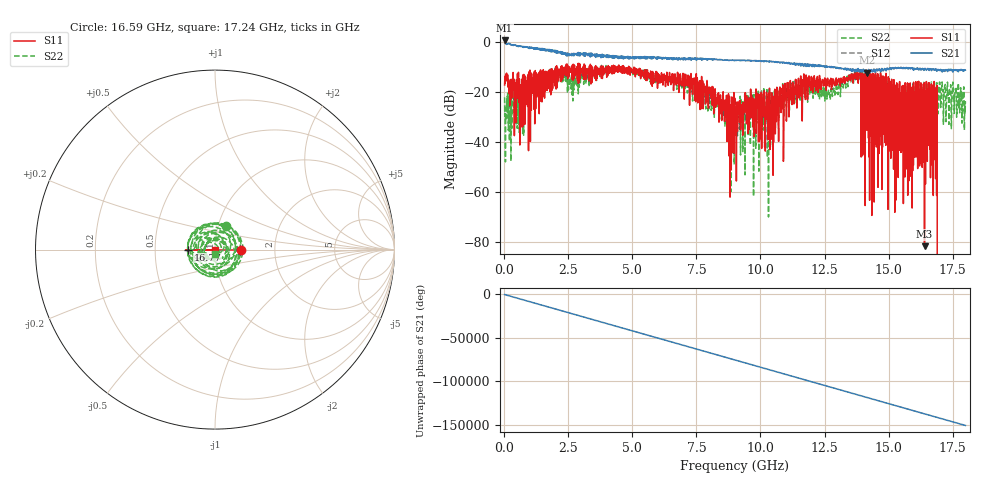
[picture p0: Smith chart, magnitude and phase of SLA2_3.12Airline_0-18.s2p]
!Created with skrf (http://scikit-rf.org).
# GHz S RI R 50.0
!freq ReS11 ImS11 ReS21 ImS21 ReS12 ImS12 ReS22 ImS22
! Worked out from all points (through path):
!   10000 points, 10 MHz to 18 GHz, reference 50 ohm
!   highest |S21| = 0.42 dB at 10 MHz (marker M1); lowest = -12.4 dB at 14.16 GHz (marker M2)
!   lowest |S11| = -81.6 dB at 16.4 GHz (marker M3), VSWR 1.00, Z = 50 + j0 ohm
!   |S11| at or under -10 dB: start of sweep to 2.036 GHz; 4.65 GHz to 4.85 GHz (199.4 MHz wide, 4.2 % of centre); 4.856 GHz to end of sweep (the widest 3 of 37)
!   |S22| runs from -70.0 to -9.5 dB; largest |S21 - S12| = 0.46
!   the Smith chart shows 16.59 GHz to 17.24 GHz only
!   S11 on the Smith chart (normalised r, x): 16.59 GHz: 1.34, +0.00; 16.77 GHz: 0.74, +0.00; 17.24 GHz: 1.00, +0.00
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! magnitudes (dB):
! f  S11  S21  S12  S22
! 10 MHz  -17.3  0.4  -0.4  -22.2
! 650.5 MHz  -18.5  -1.9  -2.0  -19.7
! 3.009 GHz  -11.8  -4.8  -4.9  -14.4
! 6.008 GHz  -14.8  -6.3  -6.6  -14.2
! 7.334 GHz  -18.2  -6.9  -6.9  -17.4
! 8.777 GHz  -27.4  -7.5  -7.5  -25.2
! 9.006 GHz  -28.4  -7.5  -7.5  -27.2
! 9.614 GHz  -19.0  -7.8  -7.7  -21.4
! 10.45 GHz  -22.8  -8.0  -8.1  -20.6
! 11.23 GHz  -25.1  -8.7  -8.8  -19.3
! 12.01 GHz  -16.0  -9.5  -9.4  -18.9
! 12.76 GHz  -16.8  -10.2  -10.0  -20.4
! 13.8 GHz  -13.1  -11.7  -11.0  -14.3
! 14.16 GHz  -12.4  -12.4  -12.2  -13.3
! 15 GHz  -41.2  -11.1  -11.3  -15.2
! 16.4 GHz  -81.6  -10.9  -10.7  -22.9
! 16.59 GHz  -16.8  -11.1  -11.5  -16.7
! 16.77 GHz  -16.5  -11.3  -11.1  -16.4
! 16.81 GHz  -25.2  -11.3  -11.3  -19.9
! 16.99 GHz  -  -11.3  -11.3  -16.3
! 17.24 GHz  -  -11.2  -11.3  -31.3
! 18 GHz  -  -11.4  -11.3  -23.8
